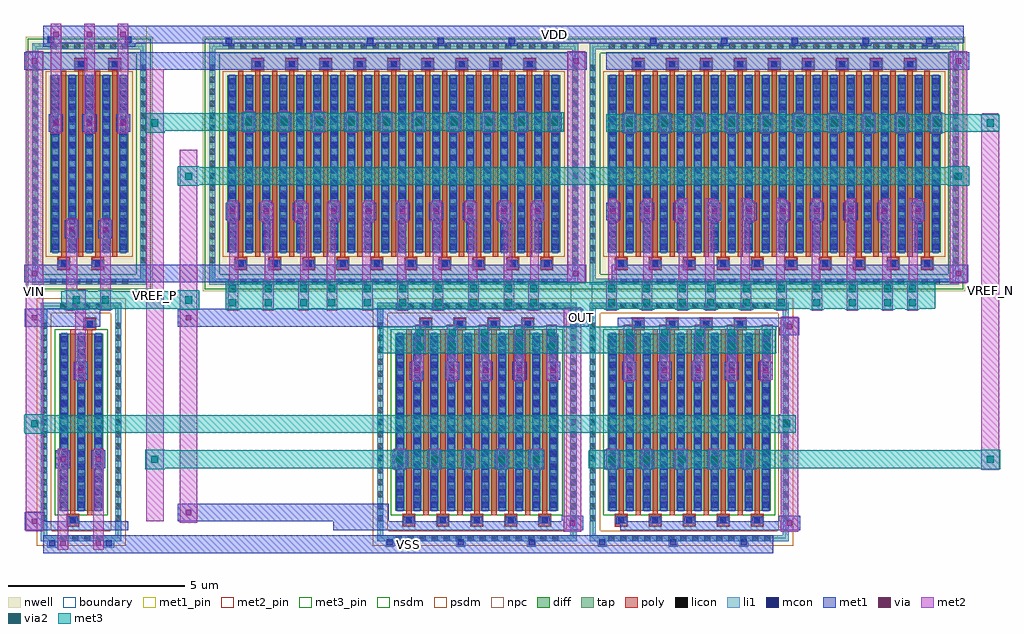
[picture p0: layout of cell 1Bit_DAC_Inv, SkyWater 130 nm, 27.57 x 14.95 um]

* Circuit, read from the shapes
.subckt 1Bit_DAC_Inv OUT VDD VIN VREF_N VREF_P VSS
XM1 n1 VIN VSS VSS sky130_fd_pr__nfet_01v8 w=5 l=0.15 m=2
XM2 OUT n1 VREF_P VSS sky130_fd_pr__nfet_01v8 w=5 l=0.15 m=9
XM3 OUT VIN VREF_N VSS sky130_fd_pr__nfet_01v8 w=5 l=0.15 m=9
XM4 n1 VIN VDD VDD sky130_fd_pr__pfet_01v8 w=5 l=0.15 m=4
XM5 VREF_P VIN OUT VDD sky130_fd_pr__pfet_01v8 w=5 l=0.15 m=19
XM6 VREF_N n1 OUT VDD sky130_fd_pr__pfet_01v8 w=5 l=0.15 m=19
.ends

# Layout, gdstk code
import gdstk
lib = gdstk.Library(unit=1e-6, precision=1e-09)
def R(c, l, rs):  # rectangles x0, y0, x1, y1
    for r in rs: c.add(gdstk.rectangle(r[:2], r[2:], *l))
def A(c, l, x, y, w, h, nx, ny, dx, dy):  # array of equal rectangles
    R(c, l, [(x+i*dx, y+j*dy, x+i*dx+w, y+j*dy+h) for i in range(nx) for j in range(ny)])
nwell = (64, 20)
diff = (65, 20)
tap = (65, 44)
poly = (66, 20)
licon = (66, 44)
li1 = (67, 20)
mcon = (67, 44)
met1_pin = (68, 16)
met1 = (68, 20)
via = (68, 44)
met2_pin = (69, 16)
met2 = (69, 20)
via2 = (69, 44)
met3_pin = (70, 16)
met3 = (70, 20)
nsdm = (93, 44)
psdm = (94, 20)
npc = (95, 20)
boundary = (235, 4)

sky130_fd_pr__pfet_01v8_ = lib.new_cell('sky130_fd_pr__pfet_01v8_UGNTUG')

sky130_fd_pr__nfet_01v8_ = lib.new_cell('sky130_fd_pr__nfet_01v8_J4PS55')

c_sky130_fd_pr__nfet_01v8_ = lib.new_cell('sky130_fd_pr__nfet_01v8_KBNS5F')
R(c_sky130_fd_pr__nfet_01v8_, diff, [(-2.305,-2.5,2.305,2.5)])
R(c_sky130_fd_pr__nfet_01v8_, tap, [(-2.815,-3.37,2.815,-3.2), (-2.815,-3.2,-2.645,3.2), (2.645,-3.2,2.815,3.2), (-2.815,3.2,2.815,3.37)])
A(c_sky130_fd_pr__nfet_01v8_, poly, -2.085, -2.94, 0.33, 0.33, 5, 1, 0.96, 0)
A(c_sky130_fd_pr__nfet_01v8_, poly, -1.515, -2.63, 0.15, 5.24, 4, 1, 0.96, 0)
A(c_sky130_fd_pr__nfet_01v8_, poly, -1.995, -2.61, 0.15, 5.24, 5, 1, 0.96, 0)
A(c_sky130_fd_pr__nfet_01v8_, poly, -1.605, 2.61, 0.33, 0.33, 4, 1, 0.96, 0)
A(c_sky130_fd_pr__nfet_01v8_, licon, -2.295, -3.37, 0.17, 0.17, 14, 2, 0.34, 6.57)
A(c_sky130_fd_pr__nfet_01v8_, licon, -2.005, -2.86, 0.17, 0.17, 5, 1, 0.96, 0)
A(c_sky130_fd_pr__nfet_01v8_, licon, -2.815, -2.805, 0.17, 0.17, 1, 17, 0, 0.34)
A(c_sky130_fd_pr__nfet_01v8_, licon, 2.645, -2.805, 0.17, 0.17, 1, 17, 0, 0.34)
A(c_sky130_fd_pr__nfet_01v8_, licon, -2.245, -2.295, 0.17, 0.17, 10, 14, 0.48, 0.34)
A(c_sky130_fd_pr__nfet_01v8_, licon, -1.525, 2.69, 0.17, 0.17, 4, 1, 0.96, 0)
A(c_sky130_fd_pr__nfet_01v8_, li1, -2.085, -2.86, 0.33, 0.17, 5, 1, 0.96, 0)
A(c_sky130_fd_pr__nfet_01v8_, li1, -2.245, -2.52, 0.17, 5.04, 10, 1, 0.48, 0)
A(c_sky130_fd_pr__nfet_01v8_, li1, -1.605, 2.69, 0.33, 0.17, 4, 1, 0.96, 0)
R(c_sky130_fd_pr__nfet_01v8_, li1, [(-2.815,-3.37,2.815,-3.2), (-2.815,-3.2,-2.645,3.2), (2.645,-3.2,2.815,3.2), (-2.815,3.2,2.815,3.37)])
A(c_sky130_fd_pr__nfet_01v8_, mcon, -2.005, -2.86, 0.17, 0.17, 5, 1, 0.96, 0)
A(c_sky130_fd_pr__nfet_01v8_, mcon, -2.245, -2.425, 0.17, 0.17, 10, 14, 0.48, 0.36)
A(c_sky130_fd_pr__nfet_01v8_, mcon, -1.525, 2.69, 0.17, 0.17, 4, 1, 0.96, 0)
A(c_sky130_fd_pr__nfet_01v8_, met1, -2.065, -2.89, 0.29, 0.23, 5, 1, 0.96, 0)
A(c_sky130_fd_pr__nfet_01v8_, met1, -2.275, -2.5, 0.23, 5, 10, 1, 0.48, 0)
A(c_sky130_fd_pr__nfet_01v8_, met1, -1.585, 2.66, 0.29, 0.23, 4, 1, 0.96, 0)
R(c_sky130_fd_pr__nfet_01v8_, nsdm, [(-2.43,-2.625,2.43,2.625)])
R(c_sky130_fd_pr__nfet_01v8_, psdm, [(-2.94,-3.495,2.94,-3.075), (-2.94,-3.075,-2.52,3.075), (2.52,-3.075,2.94,3.075), (-2.94,3.075,2.94,3.495)])
A(c_sky130_fd_pr__nfet_01v8_, npc, -2.105, -2.96, 0.37, 0.37, 5, 1, 0.96, 0)
A(c_sky130_fd_pr__nfet_01v8_, npc, -1.625, 2.59, 0.37, 0.37, 4, 1, 0.96, 0)
R(c_sky130_fd_pr__nfet_01v8_, boundary, [(-2.73,-3.285,2.73,3.285)])

c_sky130_fd_pr__pfet_01v8_ = lib.new_cell('sky130_fd_pr__pfet_01v8_BDZ9JN')
R(c_sky130_fd_pr__pfet_01v8_, nwell, [(-5.395,-3.595,5.395,3.595)])
R(c_sky130_fd_pr__pfet_01v8_, diff, [(-4.705,-2.5,4.705,2.5)])
R(c_sky130_fd_pr__pfet_01v8_, tap, [(-5.215,-3.415,5.215,-3.245), (-5.215,-3.245,-5.045,3.245), (5.045,-3.245,5.215,3.245), (-5.215,3.245,5.215,3.415)])
A(c_sky130_fd_pr__pfet_01v8_, poly, -4.485, -2.985, 0.33, 0.33, 10, 1, 0.96, 0)
A(c_sky130_fd_pr__pfet_01v8_, poly, -4.395, -2.655, 0.15, 5.285, 10, 1, 0.96, 0)
A(c_sky130_fd_pr__pfet_01v8_, poly, -3.915, -2.63, 0.15, 5.285, 9, 1, 0.96, 0)
A(c_sky130_fd_pr__pfet_01v8_, poly, -4.005, 2.655, 0.33, 0.33, 9, 1, 0.96, 0)
A(c_sky130_fd_pr__pfet_01v8_, licon, -4.675, -3.415, 0.17, 0.17, 28, 2, 0.34, 6.66)
A(c_sky130_fd_pr__pfet_01v8_, licon, -4.405, -2.905, 0.17, 0.17, 10, 1, 0.96, 0)
A(c_sky130_fd_pr__pfet_01v8_, licon, -5.215, -2.805, 0.17, 0.17, 1, 17, 0, 0.34)
A(c_sky130_fd_pr__pfet_01v8_, licon, 5.045, -2.805, 0.17, 0.17, 1, 17, 0, 0.34)
A(c_sky130_fd_pr__pfet_01v8_, licon, -4.645, -2.295, 0.17, 0.17, 20, 14, 0.48, 0.34)
A(c_sky130_fd_pr__pfet_01v8_, licon, -3.925, 2.735, 0.17, 0.17, 9, 1, 0.96, 0)
A(c_sky130_fd_pr__pfet_01v8_, li1, -4.485, -2.905, 0.33, 0.17, 10, 1, 0.96, 0)
A(c_sky130_fd_pr__pfet_01v8_, li1, -4.645, -2.52, 0.17, 5.04, 20, 1, 0.48, 0)
A(c_sky130_fd_pr__pfet_01v8_, li1, -4.005, 2.735, 0.33, 0.17, 9, 1, 0.96, 0)
R(c_sky130_fd_pr__pfet_01v8_, li1, [(-5.215,-3.415,5.215,-3.245), (-5.215,-3.245,-5.045,3.245), (5.045,-3.245,5.215,3.245), (-5.215,3.245,5.215,3.415)])
A(c_sky130_fd_pr__pfet_01v8_, mcon, -4.405, -2.905, 0.17, 0.17, 10, 1, 0.96, 0)
A(c_sky130_fd_pr__pfet_01v8_, mcon, -4.645, -2.425, 0.17, 0.17, 20, 14, 0.48, 0.36)
A(c_sky130_fd_pr__pfet_01v8_, mcon, -3.925, 2.735, 0.17, 0.17, 9, 1, 0.96, 0)
A(c_sky130_fd_pr__pfet_01v8_, met1, -4.465, -2.935, 0.29, 0.23, 10, 1, 0.96, 0)
A(c_sky130_fd_pr__pfet_01v8_, met1, -4.675, -2.5, 0.23, 5, 20, 1, 0.48, 0)
A(c_sky130_fd_pr__pfet_01v8_, met1, -3.985, 2.705, 0.29, 0.23, 9, 1, 0.96, 0)
R(c_sky130_fd_pr__pfet_01v8_, nsdm, [(-5.34,-3.54,5.34,-3.12), (-5.34,-3.12,-4.92,3.12), (4.92,-3.12,5.34,3.12), (-5.34,3.12,5.34,3.54)])
R(c_sky130_fd_pr__pfet_01v8_, psdm, [(-4.83,-2.625,4.83,2.625)])
A(c_sky130_fd_pr__pfet_01v8_, npc, -4.505, -3.005, 0.37, 0.37, 10, 1, 0.96, 0)
A(c_sky130_fd_pr__pfet_01v8_, npc, -4.025, 2.635, 0.37, 0.37, 9, 1, 0.96, 0)
R(c_sky130_fd_pr__pfet_01v8_, boundary, [(-5.13,-3.33,5.13,3.33)])

c_sky130_fd_pr__pfet_01v8__ = lib.new_cell('sky130_fd_pr__pfet_01v8_UJHYGH')
R(c_sky130_fd_pr__pfet_01v8__, nwell, [(-1.795,-3.595,1.795,3.595)])
R(c_sky130_fd_pr__pfet_01v8__, diff, [(-1.105,-2.5,1.105,2.5)])
R(c_sky130_fd_pr__pfet_01v8__, tap, [(-1.615,-3.415,1.615,-3.245), (-1.615,-3.245,-1.445,3.245), (1.445,-3.245,1.615,3.245), (-1.615,3.245,1.615,3.415)])
R(c_sky130_fd_pr__pfet_01v8__, poly, [(-0.885,-2.985,-0.555,-2.655), (0.075,-2.985,0.405,-2.655), (-0.795,-2.655,-0.645,2.63), (0.165,-2.655,0.315,2.63), (-0.315,-2.63,-0.165,2.655), (0.645,-2.63,0.795,2.655), (-0.405,2.655,-0.075,2.985), (0.555,2.655,0.885,2.985)])
A(c_sky130_fd_pr__pfet_01v8__, licon, -1.105, -3.415, 0.17, 0.17, 7, 2, 0.34, 6.66)
A(c_sky130_fd_pr__pfet_01v8__, licon, -1.615, -2.805, 0.17, 0.17, 1, 17, 0, 0.34)
A(c_sky130_fd_pr__pfet_01v8__, licon, 1.445, -2.805, 0.17, 0.17, 1, 17, 0, 0.34)
A(c_sky130_fd_pr__pfet_01v8__, licon, -1.045, -2.295, 0.17, 0.17, 5, 14, 0.48, 0.34)
R(c_sky130_fd_pr__pfet_01v8__, licon, [(-0.805,-2.905,-0.635,-2.735), (0.155,-2.905,0.325,-2.735), (-0.325,2.735,-0.155,2.905), (0.635,2.735,0.805,2.905)])
A(c_sky130_fd_pr__pfet_01v8__, li1, -1.045, -2.52, 0.17, 5.04, 5, 1, 0.48, 0)
R(c_sky130_fd_pr__pfet_01v8__, li1, [(-1.615,-3.415,1.615,-3.245), (-1.615,-3.245,-1.445,3.245), (1.445,-3.245,1.615,3.245), (-0.885,-2.905,-0.555,-2.735), (0.075,-2.905,0.405,-2.735), (-0.405,2.735,-0.075,2.905), (0.555,2.735,0.885,2.905), (-1.615,3.245,1.615,3.415)])
A(c_sky130_fd_pr__pfet_01v8__, mcon, -1.045, -2.425, 0.17, 0.17, 5, 14, 0.48, 0.36)
R(c_sky130_fd_pr__pfet_01v8__, mcon, [(-0.805,-2.905,-0.635,-2.735), (0.155,-2.905,0.325,-2.735), (-0.325,2.735,-0.155,2.905), (0.635,2.735,0.805,2.905)])
A(c_sky130_fd_pr__pfet_01v8__, met1, -1.075, -2.5, 0.23, 5, 5, 1, 0.48, 0)
R(c_sky130_fd_pr__pfet_01v8__, met1, [(-0.865,-2.935,-0.575,-2.705), (0.095,-2.935,0.385,-2.705), (-0.385,2.705,-0.095,2.935), (0.575,2.705,0.865,2.935)])
R(c_sky130_fd_pr__pfet_01v8__, nsdm, [(-1.74,-3.54,1.74,-3.12), (-1.74,-3.12,-1.32,3.12), (1.32,-3.12,1.74,3.12), (-1.74,3.12,1.74,3.54)])
R(c_sky130_fd_pr__pfet_01v8__, psdm, [(-1.23,-2.625,1.23,2.625)])
R(c_sky130_fd_pr__pfet_01v8__, npc, [(-0.905,-3.005,-0.535,-2.635), (0.055,-3.005,0.425,-2.635), (-0.425,2.635,-0.055,3.005), (0.535,2.635,0.905,3.005)])
R(c_sky130_fd_pr__pfet_01v8__, boundary, [(-1.53,-3.33,1.53,3.33)])

c_sky130_fd_pr__nfet_01v8__ = lib.new_cell('sky130_fd_pr__nfet_01v8_6H2JYD')
R(c_sky130_fd_pr__nfet_01v8__, diff, [(-0.625,-2.5,0.625,2.5)])
R(c_sky130_fd_pr__nfet_01v8__, tap, [(-1.135,-3.37,1.135,-3.2), (-1.135,-3.2,-0.965,3.2), (0.965,-3.2,1.135,3.2), (-1.135,3.2,1.135,3.37)])
R(c_sky130_fd_pr__nfet_01v8__, poly, [(-0.405,-2.94,-0.075,-2.61), (0.165,-2.63,0.315,2.61), (-0.315,-2.61,-0.165,2.63), (0.075,2.61,0.405,2.94)])
A(c_sky130_fd_pr__nfet_01v8__, licon, -0.595, -3.37, 0.17, 0.17, 4, 2, 0.34, 6.57)
A(c_sky130_fd_pr__nfet_01v8__, licon, -1.135, -2.805, 0.17, 0.17, 1, 17, 0, 0.34)
A(c_sky130_fd_pr__nfet_01v8__, licon, 0.965, -2.805, 0.17, 0.17, 1, 17, 0, 0.34)
A(c_sky130_fd_pr__nfet_01v8__, licon, -0.565, -2.295, 0.17, 0.17, 3, 14, 0.48, 0.34)
R(c_sky130_fd_pr__nfet_01v8__, licon, [(-0.325,-2.86,-0.155,-2.69), (0.155,2.69,0.325,2.86)])
A(c_sky130_fd_pr__nfet_01v8__, li1, -0.565, -2.52, 0.17, 5.04, 3, 1, 0.48, 0)
R(c_sky130_fd_pr__nfet_01v8__, li1, [(-1.135,-3.37,1.135,-3.2), (-1.135,-3.2,-0.965,3.2), (0.965,-3.2,1.135,3.2), (-0.405,-2.86,-0.075,-2.69), (0.075,2.69,0.405,2.86), (-1.135,3.2,1.135,3.37)])
A(c_sky130_fd_pr__nfet_01v8__, mcon, -0.565, -2.425, 0.17, 0.17, 3, 14, 0.48, 0.36)
R(c_sky130_fd_pr__nfet_01v8__, mcon, [(-0.325,-2.86,-0.155,-2.69), (0.155,2.69,0.325,2.86)])
A(c_sky130_fd_pr__nfet_01v8__, met1, -0.595, -2.5, 0.23, 5, 3, 1, 0.48, 0)
R(c_sky130_fd_pr__nfet_01v8__, met1, [(-0.385,-2.89,-0.095,-2.66), (0.095,2.66,0.385,2.89)])
R(c_sky130_fd_pr__nfet_01v8__, nsdm, [(-0.75,-2.625,0.75,2.625)])
R(c_sky130_fd_pr__nfet_01v8__, psdm, [(-1.26,-3.495,1.26,-3.075), (-1.26,-3.075,-0.84,3.075), (0.84,-3.075,1.26,3.075), (-1.26,3.075,1.26,3.495)])
R(c_sky130_fd_pr__nfet_01v8__, npc, [(-0.425,-2.96,-0.055,-2.59), (0.055,2.59,0.425,2.96)])
R(c_sky130_fd_pr__nfet_01v8__, boundary, [(-1.05,-3.285,1.05,3.285)])

c_1bit_dac_inv = lib.new_cell('1Bit_DAC_Inv')
A(c_1bit_dac_inv, li1, 17.665, -13.72, 0.25, 0.25, 6, 1, 2, 0)
A(c_1bit_dac_inv, li1, 25.13, 0.46, 0.2, 0.2, 4, 1, 2, 0)
R(c_1bit_dac_inv, li1, [(8.1,-13.75,8.4,-13.5), (9.7,-13.75,10,-13.5), (32.925,0.45,33.125,0.68), (13.13,0.46,13.33,0.66), (15.13,0.46,15.33,0.66), (19.13,0.46,19.33,0.66), (21.13,0.46,21.33,0.66), (17.13,0.47,17.33,0.665), (8.1,0.5,8.3,0.7), (10.3,0.5,10.5,0.7)])
A(c_1bit_dac_inv, mcon, 17.705, -13.68, 0.17, 0.17, 6, 1, 2, 0)
A(c_1bit_dac_inv, mcon, 25.145, 0.475, 0.17, 0.17, 4, 1, 2, 0)
R(c_1bit_dac_inv, mcon, [(8.165,-13.71,8.335,-13.54), (9.765,-13.71,9.935,-13.54), (13.145,0.475,13.315,0.645), (15.145,0.475,15.315,0.645), (19.145,0.475,19.315,0.645), (21.145,0.475,21.315,0.645), (17.145,0.48,17.315,0.65), (32.94,0.48,33.11,0.65), (8.115,0.515,8.285,0.685), (10.315,0.515,10.485,0.685)])
R(c_1bit_dac_inv, met1_pin, [(8,-13.9,28.6,-13.4), (10.9,0.5,34,1)])
A(c_1bit_dac_inv, met1, 18.85, -11.5, 0.4, 0.5, 3, 1, 0.95, 0)
A(c_1bit_dac_inv, met1, 24.85, -11.5, 0.4, 0.5, 4, 1, 0.95, 0)
A(c_1bit_dac_inv, met1, 19.35, -9, 0.4, 0.5, 4, 1, 0.95, 0)
A(c_1bit_dac_inv, met1, 25.35, -9, 0.4, 0.5, 4, 1, 0.95, 0)
A(c_1bit_dac_inv, met1, 13.15, -4.5, 0.4, 0.5, 4, 1, 0.95, 0)
A(c_1bit_dac_inv, met1, 17, -4.5, 0.4, 0.5, 6, 1, 0.95, 0)
A(c_1bit_dac_inv, met1, 23.9, -4.5, 0.4, 0.5, 4, 1, 0.95, 0)
A(c_1bit_dac_inv, met1, 27.75, -4.5, 0.4, 0.5, 6, 1, 0.95, 0)
A(c_1bit_dac_inv, met1, 8.15, -2, 0.4, 0.5, 3, 1, 0.95, 0)
A(c_1bit_dac_inv, met1, 25.35, -2, 0.4, 0.5, 5, 1, 0.95, 0)
A(c_1bit_dac_inv, met1, 30.15, -2, 0.4, 0.5, 4, 1, 0.95, 0)
A(c_1bit_dac_inv, met1, 14.6, -1.97, 0.4, 0.5, 5, 1, 0.95, 0)
A(c_1bit_dac_inv, met1, 19.4, -1.97, 0.4, 0.5, 4, 1, 0.95, 0)
A(c_1bit_dac_inv, met1, 25.07, 0.43, 0.32, 0.07, 4, 1, 2, 0)
R(c_1bit_dac_inv, met1, [(7.995,-13.9,28.62,-13.4), (7.47,-13.25,10.4,-13), (16.185,-13.25,23.25,-13), (24.3,-13.25,29.375,-13), (7.47,-13,8.03,-12.75), (11.8,-13,17.75,-12.5), (22.65,-13,23.25,-12.85), (28.775,-13,29.375,-12.85), (8.35,-11.5,8.75,-11), (9.35,-11.5,9.75,-11), (17.85,-11.5,18.3,-11), (21.7,-11.5,22.15,-11), (23.85,-11.5,24.3,-11), (8.85,-9,9.25,-8.5), (18.35,-9,18.75,-8.5), (24.35,-9,24.75,-8.5), (28.795,-7.75,29.355,-7.5), (7.47,-7.5,9.6,-7), (11.8,-7.5,23.4,-7.25), (24.225,-7.5,29.355,-7.25), (11.8,-7.25,23.25,-7), (7.45,-6.25,23.33,-5.75), (24.05,-6.25,34.13,-5.75), (8.6,-5,9,-4.5), (9.55,-5,9.95,-4.5), (24.35,-2,24.75,-1.5), (13.6,-1.97,14,-1.47), (7.45,-0.25,23.35,0.25), (23.9,-0.25,34.15,0.25), (8,0.4,8.4,0.5), (10.2,0.4,10.6,0.5), (32.845,0.415,33.22,0.5), (13.07,0.43,13.39,0.5), (15.07,0.43,15.39,0.5), (19.07,0.43,19.39,0.5), (21.07,0.43,21.39,0.5), (17.045,0.435,17.385,0.445), (17.045,0.445,17.39,0.5), (8,0.5,34,1)])
A(c_1bit_dac_inv, via, 18.975, -11.325, 0.15, 0.15, 3, 1, 0.95, 0)
A(c_1bit_dac_inv, via, 24.975, -11.325, 0.15, 0.15, 4, 1, 0.95, 0)
A(c_1bit_dac_inv, via, 19.475, -8.825, 0.15, 0.15, 4, 1, 0.95, 0)
A(c_1bit_dac_inv, via, 25.475, -8.825, 0.15, 0.15, 4, 1, 0.95, 0)
A(c_1bit_dac_inv, via, 13.275, -4.325, 0.15, 0.15, 4, 1, 0.95, 0)
A(c_1bit_dac_inv, via, 17.125, -4.325, 0.15, 0.15, 6, 1, 0.95, 0)
A(c_1bit_dac_inv, via, 24.025, -4.325, 0.15, 0.15, 4, 1, 0.95, 0)
A(c_1bit_dac_inv, via, 27.875, -4.325, 0.15, 0.15, 6, 1, 0.95, 0)
A(c_1bit_dac_inv, via, 8.275, -1.825, 0.15, 0.15, 3, 2, 0.95, 2.5)
A(c_1bit_dac_inv, via, 25.475, -1.825, 0.15, 0.15, 5, 1, 0.95, 0)
A(c_1bit_dac_inv, via, 30.275, -1.825, 0.15, 0.15, 4, 1, 0.95, 0)
A(c_1bit_dac_inv, via, 14.725, -1.795, 0.15, 0.15, 5, 1, 0.95, 0)
A(c_1bit_dac_inv, via, 19.525, -1.795, 0.15, 0.15, 4, 1, 0.95, 0)
R(c_1bit_dac_inv, via, [(8.475,-13.695,8.625,-13.545), (9.475,-13.695,9.625,-13.545), (22.875,-13.125,23.025,-12.975), (29,-13.125,29.15,-12.975), (7.675,-13.075,7.825,-12.925), (12.025,-12.825,12.175,-12.675), (8.475,-11.325,8.625,-11.175), (9.475,-11.325,9.625,-11.175), (18,-11.325,18.15,-11.175), (21.85,-11.325,22,-11.175), (24,-11.325,24.15,-11.175), (8.975,-8.825,9.125,-8.675), (18.475,-8.825,18.625,-8.675), (24.475,-8.825,24.625,-8.675), (29,-7.575,29.15,-7.425), (7.675,-7.325,7.825,-7.175), (12.025,-7.325,12.175,-7.175), (22.875,-7.325,23.025,-7.175), (7.675,-6.075,7.825,-5.925), (22.975,-6.075,23.125,-5.925), (33.775,-6.075,33.925,-5.925), (8.725,-4.825,8.875,-4.675), (9.675,-4.825,9.825,-4.675), (24.475,-1.825,24.625,-1.675), (13.725,-1.795,13.875,-1.645), (7.675,-0.075,7.825,0.075), (22.975,-0.075,23.125,0.075), (33.775,-0.075,33.925,0.075)])
R(c_1bit_dac_inv, met2_pin, [(10.9,-13,11.4,-0.225), (7.5,-12.75,8,-0.25), (34.5,-11,35,-1.975)])
A(c_1bit_dac_inv, met2, 13.2, -7.05, 0.3, 0.85, 3, 1, 1, 0)
A(c_1bit_dac_inv, met2, 16, -7.05, 0.3, 0.85, 6, 1, 1, 0)
A(c_1bit_dac_inv, met2, 23.9, -7.05, 0.3, 0.85, 3, 1, 1, 0)
A(c_1bit_dac_inv, met2, 29.7, -7.05, 0.3, 0.85, 3, 1, 1, 0)
A(c_1bit_dac_inv, met2, 13.25, -6.2, 0.25, 1.65, 3, 1, 1, 0)
A(c_1bit_dac_inv, met2, 16, -6.2, 0.25, 1.65, 6, 1, 1, 0)
A(c_1bit_dac_inv, met2, 23.95, -6.2, 0.25, 1.65, 3, 1, 1, 0)
A(c_1bit_dac_inv, met2, 26.7, -6.2, 0.25, 1.65, 6, 1, 1, 0)
A(c_1bit_dac_inv, met2, 14.15, -4, 0.3, 0.05, 3, 1, 0.95, 0)
A(c_1bit_dac_inv, met2, 19.9, -4, 0.3, 0.05, 3, 1, 0.95, 0)
A(c_1bit_dac_inv, met2, 23.95, -3.95, 0.25, 0.075, 3, 1, 1, 0)
A(c_1bit_dac_inv, met2, 26.7, -3.95, 0.25, 0.075, 6, 1, 1, 0)
A(c_1bit_dac_inv, met2, 8.2, -2.05, 0.3, 3.1, 3, 1, 0.95, 0)
A(c_1bit_dac_inv, met2, 25.4, -2.05, 0.3, 0.6, 3, 1, 1.9, 0)
A(c_1bit_dac_inv, met2, 14.65, -2.02, 0.3, 0.6, 3, 1, 1.9, 0)
R(c_1bit_dac_inv, met2, [(8.4,-13.8,8.7,-10.95), (9.4,-13.8,9.7,-10.95), (22.7,-13.3,23.2,-6.95), (28.825,-13.3,29.325,-10.52), (7.5,-13.28,8,0.28), (11.85,-13.05,12.35,-2.5), (10.9,-13,11.4,-0.225), (17.9,-11.55,18.25,-10.95), (18.9,-11.55,19.2,-10.95), (19.85,-11.55,20.2,-10.95), (20.8,-11.55,21.1,-10.95), (21.75,-11.55,22.1,-10.95), (23.9,-11.55,24.25,-10.95), (24.9,-11.55,25.2,-10.95), (25.85,-11.55,26.2,-10.95), (26.8,-11.55,27.1,-10.95), (27.75,-11.55,28.1,-10.95), (34.5,-11.545,35,-1.5), (28.775,-10.52,29.325,-9.98), (28.825,-9.98,29.325,-7.22), (8.9,-9.05,9.2,-7.05), (18.4,-9.05,18.7,-8.75), (19.4,-9.05,19.7,-7.45), (20.35,-9.05,20.65,-9), (21.3,-9.05,21.6,-7.45), (22.25,-9.05,22.55,-9), (24.4,-9.05,24.7,-7.45), (25.4,-9.05,25.7,-7.45), (26.35,-9.05,26.65,-9), (27.3,-9.05,27.6,-7.45), (28.25,-9.05,28.55,-9), (20.3,-9,20.65,-8.45), (22.2,-9,22.55,-8.45), (26.35,-9,26.7,-8.45), (28.25,-9,28.6,-8.45), (18.4,-8.75,18.75,-8.45), (18.5,-8.45,18.75,-8.3), (20.3,-8.45,20.6,-7.45), (22.2,-8.45,22.5,-7.45), (26.4,-8.45,26.7,-7.45), (28.3,-8.45,28.6,-7.45), (18.5,-8.3,18.8,-7.45), (28.7,-7.055,29,-6.2), (8.65,-7.05,9.2,-6.45), (9.6,-7.05,9.9,-4.45), (21.7,-7.05,22,-6.2), (26.7,-7.05,27,-6.2), (27.7,-7.05,28,-6.2), (32.4,-7.05,32.7,-6.2), (8.65,-6.45,8.95,-4.45), (22.8,-6.28,23.3,0.28), (33.6,-6.28,34.1,0.28), (21.75,-6.2,22,-4.55), (32.45,-6.2,32.7,-4.55), (13.2,-4.55,13.5,-3.95), (14.15,-4.55,14.5,-4), (15.1,-4.55,15.5,-4), (16,-4.55,16.35,-4), (17,-4.55,17.35,-4), (18,-4.55,18.3,-3.95), (18.95,-4.55,19.25,-3.95), (19.9,-4.55,20.25,-4), (20.85,-4.55,21.25,-4), (21.75,-4.55,22.1,-4), (23.95,-4.55,24.25,-3.95), (24.9,-4.55,25.2,-3.95), (25.85,-4.55,26.2,-3.95), (26.7,-4.55,27.1,-3.95), (27.7,-4.55,28.1,-3.95), (28.7,-4.55,29.05,-3.95), (29.7,-4.55,30,-3.95), (30.65,-4.55,30.95,-3.95), (31.6,-4.55,31.95,-3.95), (32.45,-4.55,32.85,-3.95), (17.05,-4,17.35,-3.95), (32.45,-3.95,32.7,-3.875), (24.4,-2.05,24.7,-1.45), (26.35,-2.05,26.7,-1.45), (28.25,-2.05,28.6,-1.45), (30.2,-2.05,30.5,-1.45), (31.15,-2.05,31.5,-1.45), (32.1,-2.05,32.4,-1.45), (33.05,-2.05,33.4,-1.45), (13.65,-2.02,13.95,-1.42), (15.6,-2.02,15.95,-1.42), (17.5,-2.02,17.85,-1.42), (19.45,-2.02,19.75,-1.42), (20.4,-2.02,20.75,-1.42), (21.35,-2.02,21.65,-1.42), (22.3,-2.02,22.6,-1.42), (34.525,-1.5,34.975,-1.48)])
A(c_1bit_dac_inv, via2, 17.95, -11.35, 0.2, 0.2, 3, 1, 1, 0)
A(c_1bit_dac_inv, via2, 23.95, -11.35, 0.2, 0.2, 3, 2, 1, 4.425)
A(c_1bit_dac_inv, via2, 18.55, -8.175, 0.2, 0.2, 3, 2, 0.9, 0.4)
A(c_1bit_dac_inv, via2, 24.45, -8.175, 0.2, 0.2, 3, 2, 1, 0.4)
A(c_1bit_dac_inv, via2, 13.25, -6.925, 0.2, 0.2, 3, 2, 1, 0.4)
A(c_1bit_dac_inv, via2, 16.05, -6.925, 0.2, 0.2, 6, 2, 1, 0.4)
A(c_1bit_dac_inv, via2, 26.75, -6.925, 0.2, 0.2, 6, 2, 1, 0.4)
A(c_1bit_dac_inv, via2, 23.95, -6.525, 0.2, 0.2, 3, 1, 1, 0)
A(c_1bit_dac_inv, via2, 24.45, -1.85, 0.2, 0.2, 3, 1, 1, 0)
A(c_1bit_dac_inv, via2, 29.25, -1.85, 0.2, 0.2, 3, 1, 1, 0)
A(c_1bit_dac_inv, via2, 13.7, -1.82, 0.2, 0.2, 3, 1, 1, 0)
A(c_1bit_dac_inv, via2, 18.5, -1.82, 0.2, 0.2, 3, 1, 1, 0)
R(c_1bit_dac_inv, via2, [(11.05,-11.35,11.25,-11.15), (20.85,-11.35,21.05,-11.15), (21.825,-11.35,22.025,-11.15), (26.85,-11.35,27.05,-11.15), (27.85,-11.35,28.05,-11.15), (34.65,-11.35,34.85,-11.15), (7.65,-10.35,7.85,-10.15), (28.9,-10.35,29.1,-10.15), (21.35,-8.175,21.55,-7.975), (22.25,-8.175,22.45,-7.975), (27.35,-8.175,27.55,-7.975), (28.35,-8.175,28.55,-7.975), (21.35,-7.775,21.55,-7.575), (22.25,-7.775,22.45,-7.575), (27.35,-7.775,27.55,-7.575), (28.35,-7.775,28.55,-7.575), (21.75,-6.925,21.95,-6.725), (32.45,-6.925,32.65,-6.725), (8.825,-6.85,9.025,-6.65), (9.65,-6.85,9.85,-6.65), (12,-6.85,12.2,-6.65), (21.75,-6.525,21.95,-6.325), (32.45,-6.525,32.65,-6.325), (12,-3.35,12.2,-3.15), (33.75,-3.35,33.95,-3.15), (11.05,-1.85,11.25,-1.65), (27.35,-1.85,27.55,-1.65), (28.35,-1.85,28.55,-1.65), (32.15,-1.85,32.35,-1.65), (33.15,-1.85,33.35,-1.65), (34.65,-1.85,34.85,-1.65), (16.6,-1.82,16.8,-1.62), (17.6,-1.82,17.8,-1.62), (21.4,-1.82,21.6,-1.62), (22.35,-1.82,22.55,-1.62)])
R(c_1bit_dac_inv, met3_pin, [(22.9,-8.25,23.5,-6.25)])
A(c_1bit_dac_inv, met3, 17.85, -11.525, 0.4, 0.025, 3, 2, 1, 0.525)
A(c_1bit_dac_inv, met3, 23.85, -11.525, 0.4, 0.025, 3, 2, 1, 0.525)
A(c_1bit_dac_inv, met3, 18.45, -8.275, 0.4, 0.025, 3, 2, 0.9, 0.775)
A(c_1bit_dac_inv, met3, 24.35, -8.275, 0.4, 0.025, 3, 2, 1, 0.775)
A(c_1bit_dac_inv, met3, 13.15, -7.025, 0.4, 0.025, 3, 2, 1, 0.775)
A(c_1bit_dac_inv, met3, 15.95, -7.025, 0.4, 0.025, 6, 2, 1, 0.775)
A(c_1bit_dac_inv, met3, 23.85, -7.025, 0.4, 0.025, 3, 2, 1, 0.775)
A(c_1bit_dac_inv, met3, 26.65, -7.025, 0.4, 0.025, 6, 2, 1, 0.775)
A(c_1bit_dac_inv, met3, 24.35, -2.025, 0.4, 0.025, 3, 2, 1, 0.525)
A(c_1bit_dac_inv, met3, 29.15, -2.025, 0.4, 0.025, 3, 2, 1, 0.525)
A(c_1bit_dac_inv, met3, 13.6, -1.995, 0.4, 0.025, 3, 2, 1, 0.525)
A(c_1bit_dac_inv, met3, 18.4, -1.995, 0.4, 0.025, 3, 2, 1, 0.525)
R(c_1bit_dac_inv, met3, [(10.875,-11.525,11.425,-11.5), (20.75,-11.525,21.15,-11.5), (21.7,-11.525,22.15,-11.5), (26.75,-11.525,27.15,-11.5), (27.75,-11.525,28.15,-11.5), (34.475,-11.525,35.025,-11.5), (10.875,-11.5,22.15,-11), (23.4,-11.5,35.025,-11), (10.875,-11,11.425,-10.975), (20.75,-11,21.15,-10.975), (21.7,-11,22.15,-10.975), (26.75,-11,27.15,-10.975), (27.75,-11,28.15,-10.975), (34.475,-11,35.025,-10.975), (7.475,-10.525,8.025,-10.5), (7.45,-10.5,29.25,-10), (7.475,-10,8.025,-9.975), (21.25,-8.275,21.65,-8.25), (22.15,-8.275,22.55,-8.25), (27.25,-8.275,27.65,-8.25), (28.25,-8.275,28.65,-8.25), (17.5,-8.25,28.7,-7.5), (21.25,-7.5,21.65,-7.475), (22.15,-7.5,22.55,-7.475), (22.9,-7.5,23.5,-7), (27.25,-7.5,27.65,-7.475), (28.25,-7.5,28.65,-7.475), (8.6,-7.025,9.25,-7), (9.55,-7.025,9.95,-7), (11.8,-7.025,12.4,-7), (21.65,-7.025,22.05,-7), (32.35,-7.025,32.75,-7), (8.5,-7,12.4,-6.5), (13.15,-7,33.2,-6.25), (8.6,-6.5,9.25,-6.475), (9.55,-6.5,9.95,-6.475), (11.8,-6.5,12.4,-6.475), (21.65,-6.25,22.05,-6.225), (32.35,-6.25,32.75,-6.225), (11.8,-3.525,12.4,-3.5), (33.55,-3.525,34.15,-3.5), (11.8,-3.5,34.15,-3), (11.8,-3,12.4,-2.975), (33.55,-3,34.15,-2.975), (10.875,-2.025,11.425,-1.97), (27.25,-2.025,27.65,-2), (28.25,-2.025,28.65,-2), (32.05,-2.025,32.45,-2), (33.05,-2.025,33.45,-2), (23.9,-2,35,-1.5), (16.5,-1.995,16.9,-1.97), (17.5,-1.995,17.9,-1.97), (21.3,-1.995,21.7,-1.97), (22.005,-1.995,22.7,-1.97), (10.875,-1.97,22.7,-1.475), (27.25,-1.5,27.65,-1.475), (28.25,-1.5,28.65,-1.475), (32.05,-1.5,32.45,-1.475), (33.05,-1.5,33.45,-1.475), (10.95,-1.475,22.7,-1.47), (16.5,-1.47,16.9,-1.445), (17.5,-1.47,17.9,-1.445), (21.3,-1.47,21.7,-1.445), (22.005,-1.47,22.7,-1.445)])
R(c_1bit_dac_inv, nsdm, [(23.235,-6.445,23.305,0.635)])
R(c_1bit_dac_inv, psdm, [(23.185,-13.695,23.305,-6.705)])
c_1bit_dac_inv.add(gdstk.Reference(sky130_fd_pr__pfet_01v8_, (30.77,-10.42)))
c_1bit_dac_inv.add(gdstk.Reference(sky130_fd_pr__nfet_01v8_, (33.615,-10.73)))
c_1bit_dac_inv.add(gdstk.Reference(c_sky130_fd_pr__nfet_01v8_, (26.245,-10.2)))
c_1bit_dac_inv.add(gdstk.Reference(c_sky130_fd_pr__pfet_01v8_, (28.645,-2.905)))
c_1bit_dac_inv.add(gdstk.Reference(c_sky130_fd_pr__nfet_01v8_, (20.245,-10.2)))
c_1bit_dac_inv.add(gdstk.Reference(c_sky130_fd_pr__pfet_01v8__, (9.295,-2.905)))
c_1bit_dac_inv.add(gdstk.Reference(c_sky130_fd_pr__pfet_01v8_, (17.895,-2.905)))
c_1bit_dac_inv.add(gdstk.Reference(c_sky130_fd_pr__nfet_01v8__, (9.065,-10.2)))
c_1bit_dac_inv.add(gdstk.Label('OUT', (23.2,-7.25), layer=70, texttype=5))
c_1bit_dac_inv.add(gdstk.Label('VREF_N', (34.75,-6.487), layer=69, texttype=5))
c_1bit_dac_inv.add(gdstk.Label('VREF_P', (11.15,-6.612), layer=69, texttype=5))
c_1bit_dac_inv.add(gdstk.Label('VSS', (18.3,-13.65), layer=68, texttype=5))
c_1bit_dac_inv.add(gdstk.Label('VIN', (7.75,-6.5), layer=69, texttype=5))
c_1bit_dac_inv.add(gdstk.Label('VDD', (22.45,0.75), layer=68, texttype=5))

lib.write_gds('1Bit_DAC_Inv.gds')
